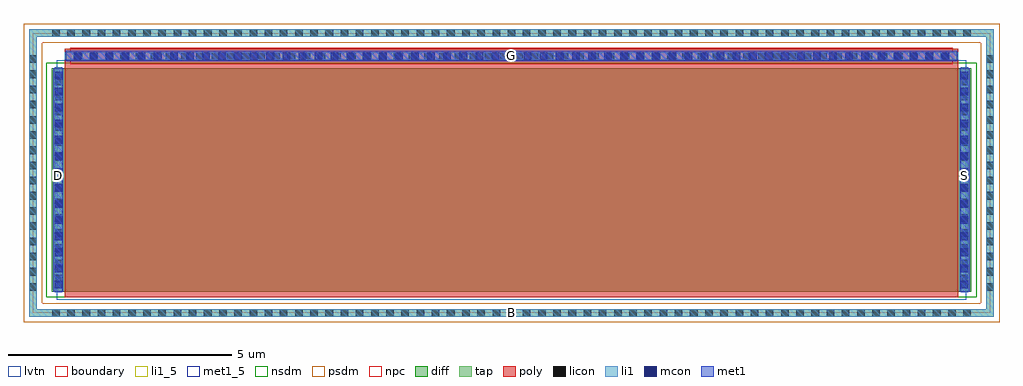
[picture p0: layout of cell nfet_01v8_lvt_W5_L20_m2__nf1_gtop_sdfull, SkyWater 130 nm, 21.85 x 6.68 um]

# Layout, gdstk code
import gdstk
lib = gdstk.Library(unit=1e-6, precision=1e-09)
def R(c, l, rs):  # rectangles x0, y0, x1, y1
    for r in rs: c.add(gdstk.rectangle(r[:2], r[2:], *l))
def A(c, l, x, y, w, h, nx, ny, dx, dy):  # array of equal rectangles
    R(c, l, [(x+i*dx, y+j*dy, x+i*dx+w, y+j*dy+h) for i in range(nx) for j in range(ny)])
diff = (65, 20)
tap = (65, 44)
poly = (66, 20)
licon = (66, 44)
li1_5 = (67, 5)
li1 = (67, 20)
mcon = (67, 44)
met1_5 = (68, 5)
met1 = (68, 20)
nsdm = (93, 44)
psdm = (94, 20)
npc = (95, 20)
lvtn = (125, 44)
boundary = (235, 4)

sky130_fd_pr__nfet_01v8_ = lib.new_cell('sky130_fd_pr__nfet_01v8_lvt_4EBN6X')
R(sky130_fd_pr__nfet_01v8_, diff, [(-10.29,-2.655,10.29,2.345)])
R(sky130_fd_pr__nfet_01v8_, tap, [(-10.8,-3.215,10.8,-3.045), (-10.8,-3.045,-10.63,3.045), (10.63,-3.045,10.8,3.045), (-10.8,3.045,10.8,3.215)])
R(sky130_fd_pr__nfet_01v8_, poly, [(-10,-2.785,10,2.785)])
A(sky130_fd_pr__nfet_01v8_, licon, -10.285, -3.215, 0.17, 0.17, 61, 2, 0.34, 6.26)
A(sky130_fd_pr__nfet_01v8_, licon, -10.8, -2.635, 0.17, 0.17, 1, 16, 0, 0.34)
A(sky130_fd_pr__nfet_01v8_, licon, 10.63, -2.635, 0.17, 0.17, 1, 16, 0, 0.34)
A(sky130_fd_pr__nfet_01v8_, licon, -10.23, -2.45, 0.17, 0.17, 1, 14, 0, 0.34)
A(sky130_fd_pr__nfet_01v8_, licon, 10.06, -2.45, 0.17, 0.17, 1, 14, 0, 0.34)
A(sky130_fd_pr__nfet_01v8_, licon, -9.775, 2.535, 0.17, 0.17, 58, 1, 0.34, 0)
R(sky130_fd_pr__nfet_01v8_, li1, [(-10.8,-3.215,10.8,-3.045), (-10.8,-3.045,-10.63,3.045), (10.63,-3.045,10.8,3.045), (-10.23,-2.675,-10.06,2.365), (10.06,-2.675,10.23,2.365), (-10,2.535,10,2.705), (-10.8,3.045,10.8,3.215)])
A(sky130_fd_pr__nfet_01v8_, mcon, -10.23, -2.58, 0.17, 0.17, 1, 14, 0, 0.36)
A(sky130_fd_pr__nfet_01v8_, mcon, 10.06, -2.58, 0.17, 0.17, 1, 14, 0, 0.36)
A(sky130_fd_pr__nfet_01v8_, mcon, -9.805, 2.535, 0.17, 0.17, 55, 1, 0.36, 0)
R(sky130_fd_pr__nfet_01v8_, met1, [(-10.26,-2.655,-10.03,2.345), (10.03,-2.655,10.26,2.345), (-9.98,2.505,9.98,2.735)])
R(sky130_fd_pr__nfet_01v8_, nsdm, [(-10.415,-2.78,10.415,2.47)])
R(sky130_fd_pr__nfet_01v8_, psdm, [(-10.925,-3.34,10.925,-2.92), (-10.925,-2.92,-10.505,2.92), (10.505,-2.92,10.925,2.92), (-10.925,2.92,10.925,3.34)])
R(sky130_fd_pr__nfet_01v8_, npc, [(-9.875,2.435,9.875,2.805)])
R(sky130_fd_pr__nfet_01v8_, lvtn, [(-10.18,-2.835,10.18,2.525)])
R(sky130_fd_pr__nfet_01v8_, boundary, [(-10.715,-3.13,10.715,3.13)])
sky130_fd_pr__nfet_01v8_.add(gdstk.Label('B', (0,-3.13), layer=67, texttype=5))
sky130_fd_pr__nfet_01v8_.add(gdstk.Label('D', (-10.145,-0.155), layer=67, texttype=5))
sky130_fd_pr__nfet_01v8_.add(gdstk.Label('S', (10.145,-0.155), layer=67, texttype=5))
sky130_fd_pr__nfet_01v8_.add(gdstk.Label('G', (0,2.62), layer=67, texttype=5))

nfet_01v8_lvt_w5_l20_m2_ = lib.new_cell('nfet_01v8_lvt_W5_L20_m2__nf1_gtop_sdfull')
R(nfet_01v8_lvt_w5_l20_m2_, li1_5, [(10.63,-0.085,10.8,0.085)])
R(nfet_01v8_lvt_w5_l20_m2_, li1, [(10.63,-0.085,10.8,0.085)])
R(nfet_01v8_lvt_w5_l20_m2_, met1_5, [(0.455,2.975,0.685,3.175), (20.745,2.975,20.975,3.175), (0.735,5.635,20.695,5.865)])
R(nfet_01v8_lvt_w5_l20_m2_, met1, [(0.455,2.975,0.685,3.175), (20.745,2.975,20.975,3.175), (0.735,5.635,20.695,5.865)])
nfet_01v8_lvt_w5_l20_m2_.add(gdstk.Reference(sky130_fd_pr__nfet_01v8_, (10.715,3.13)))
nfet_01v8_lvt_w5_l20_m2_.add(gdstk.Label('D', (0.57,3.075), layer=68, texttype=5))
nfet_01v8_lvt_w5_l20_m2_.add(gdstk.Label('S', (20.86,3.075), layer=68, texttype=5))
nfet_01v8_lvt_w5_l20_m2_.add(gdstk.Label('G', (10.715,5.75), layer=68, texttype=5))
nfet_01v8_lvt_w5_l20_m2_.add(gdstk.Label('B', (10.715,0), layer=67, texttype=5))

lib.write_gds('nfet_01v8_lvt_W5_L20_m2__nf1_gtop_sdfull.gds')
